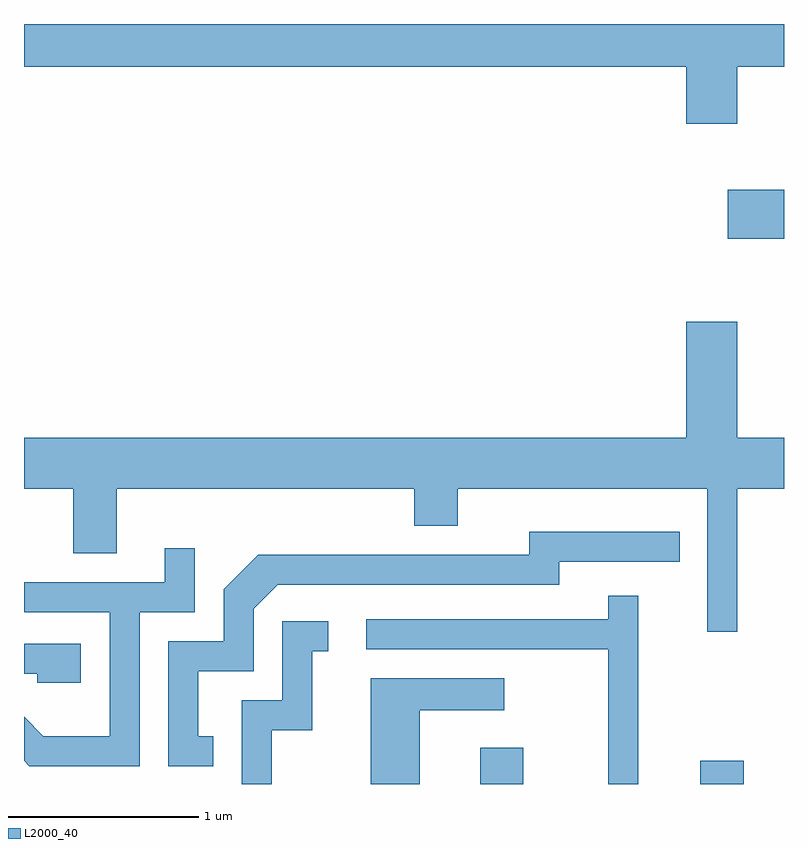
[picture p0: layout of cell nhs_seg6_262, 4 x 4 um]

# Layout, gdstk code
import gdstk
lib = gdstk.Library(unit=1e-6, precision=1e-09)
def R(c, l, rs):  # rectangles x0, y0, x1, y1
    for r in rs: c.add(gdstk.rectangle(r[:2], r[2:], *l))
def P(c, l, *ps):  # polygons
    for p in ps: c.add(gdstk.Polygon(p, *l))
L2000_40 = (2000, 40)

nhs_seg6_262 = lib.new_cell('nhs_seg6_262')
R(nhs_seg6_262, L2000_40, [(194.011,1646.162,194.239,1646.354), (195.171,1646.162,195.399,1646.284), (195.316,1649.031,195.611,1649.289)])
P(nhs_seg6_262, L2000_40, [(195.364,1649.936),(195.611,1649.936),(195.611,1650.162),(191.611,1650.162),(191.611,1649.936),(195.096,1649.936),(195.096,1649.636),(195.364,1649.636)],
  [(195.364,1647.716),(195.611,1647.716),(195.611,1647.984),(195.364,1647.984),(195.364,1648.594),(195.096,1648.594),(195.096,1647.984),(191.611,1647.984),(191.611,1647.716),(191.871,1647.716),(191.871,1647.376),(192.099,1647.376),(192.099,1647.716),(193.666,1647.716),(193.666,1647.521),(193.894,1647.521),(193.894,1647.716),(195.206,1647.716),(195.206,1646.963),(195.364,1646.963)],
  [(192.608,1646.414),(192.529,1646.414),(192.529,1646.756),(192.819,1646.756),(192.819,1647.084),(192.947,1647.211),(194.429,1647.211),(194.429,1647.331),(195.063,1647.331),(195.063,1647.489),(194.271,1647.489),(194.271,1647.369),(192.844,1647.369),(192.661,1647.187),(192.661,1646.914),(192.371,1646.914),(192.371,1646.256),(192.608,1646.256)],
  [(192.219,1647.066),(192.509,1647.066),(192.509,1647.403),(192.351,1647.403),(192.351,1647.224),(191.611,1647.224),(191.611,1647.066),(192.061,1647.066),(192.061,1646.414),(191.712,1646.414),(191.611,1646.515),(191.611,1646.284),(191.639,1646.256),(192.219,1646.256)],
  [(194.844,1647.153),(194.686,1647.153),(194.686,1647.029),(193.413,1647.029),(193.413,1646.871),(194.686,1646.871),(194.686,1646.162),(194.844,1646.162)],
  [(192.914,1646.446),(193.129,1646.446),(193.129,1646.861),(193.213,1646.861),(193.213,1647.019),(192.971,1647.019),(192.971,1646.604),(192.756,1646.604),(192.756,1646.162),(192.914,1646.162)],
  [(191.909,1646.899),(191.611,1646.899),(191.611,1646.741),(191.681,1646.741),(191.681,1646.696),(191.909,1646.696)],
  [(193.694,1646.551),(194.138,1646.551),(194.138,1646.719),(193.436,1646.719),(193.436,1646.162),(193.694,1646.162)])

lib.write_gds('nhs_seg6_262.gds')
